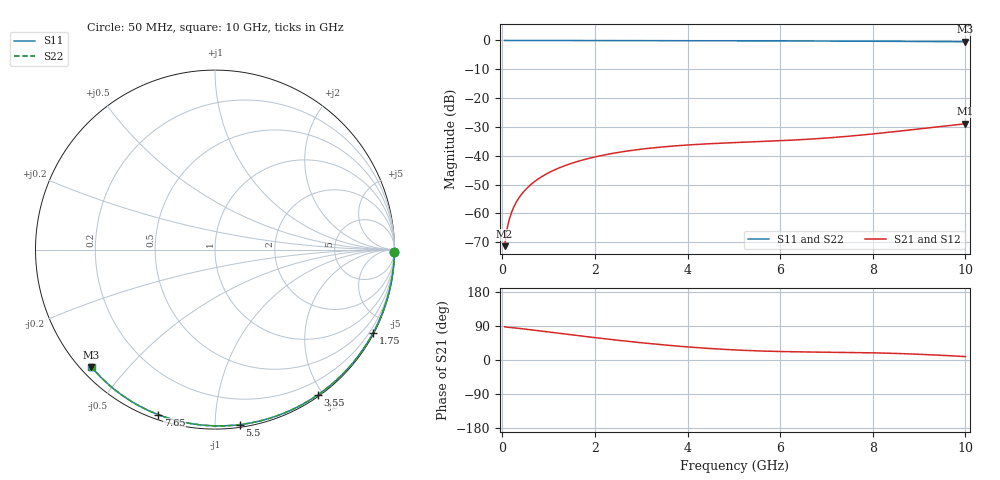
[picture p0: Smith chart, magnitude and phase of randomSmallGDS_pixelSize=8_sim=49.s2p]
! freq	dB(S11)	phase(S11)	dB(S12)	phase(S12)
!  dB(S21)	phase(S21)	dB(S22)	phase(S22)
!S-par simulation data
#  GHz  S  DB  R 50
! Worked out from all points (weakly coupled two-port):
!   200 points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, 50 MHz to 10 GHz, reference 50 ohm
!   highest |S21| = -28.90 dB at 10 GHz (marker M1); lowest = -71.4 dB at 50 MHz (marker M2)
!   lowest |S11| = -0.5 dB at 10 GHz (marker M3), VSWR 38.44, Z = 1.51 - j19.9 ohm
!   |S11| at or under -10 dB: nowhere
!   |S22| runs from -0.5 to 0.0 dB; largest |S21 - S12| = 0
!   S11 on the Smith chart (normalised r, x): 50 MHz: open; 1.75 GHz: 0.04, -4.05; 3.55 GHz: 0.02, -1.93; 5.5 GHz: 0.02, -1.15; 7.65 GHz: 0.02, -0.71; 10 GHz: 0.03, -0.40
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0.05  -0.00 -0.8  -71.35 87.7  -71.35 87.7  -0.00 -0.8
0.1  -0.00 -1.6  -65.50 86.7  -65.50 86.7  -0.00 -1.6
0.15  -0.00 -2.4  -62.08 86.1  -62.08 86.1  -0.00 -2.4
0.2  -0.00 -3.2  -59.63 85.6  -59.63 85.6  -0.00 -3.2
0.25  -0.00 -4.0  -57.72 85.0  -57.72 85.0  -0.00 -4.0
0.35  -0.00 -5.6  -54.83 83.6  -54.83 83.6  -0.00 -5.6
0.5  -0.01 -8.0  -51.77 81.5  -51.77 81.5  -0.01 -8.0
0.7  -0.01 -11.2  -48.90 78.5  -48.90 78.5  -0.01 -11.2
1  -0.02 -16.0  -45.90 73.9  -45.90 73.9  -0.02 -16.0
1.35  -0.03 -21.5  -43.44 68.6  -43.44 68.6  -0.03 -21.5
1.75  -0.04 -27.7  -41.40 62.6  -41.40 62.6  -0.04 -27.7
2.5  -0.05 -39.2  -38.85 52.1  -38.85 52.1  -0.05 -39.2
3.4  -0.07 -52.6  -37.02 40.8  -37.02 40.8  -0.07 -52.6
3.55  -0.07 -54.8  -36.81 39.2  -36.81 39.2  -0.07 -54.8
4.3  -0.09 -65.5  -35.97 31.8  -35.97 31.8  -0.09 -65.5
5.05  -0.12 -75.8  -35.40 26.4  -35.40 26.4  -0.12 -75.8
5.5  -0.13 -81.8  -35.11 24.1  -35.11 24.1  -0.13 -81.8
6.7  -0.19 -97.3  -34.17 21.0  -34.17 21.0  -0.19 -97.3
7.65  -0.24 -109.0  -32.97 19.7  -32.97 19.7  -0.24 -108.9
8.35  -0.29 -117.3  -31.84 17.9  -31.84 17.9  -0.29 -117.3
9.2  -0.37 -127.2  -30.33 14.0  -30.33 14.0  -0.37 -127.2
10  -0.45 -136.5  -28.90 9.0  -28.90 9.0  -0.45 -136.4
